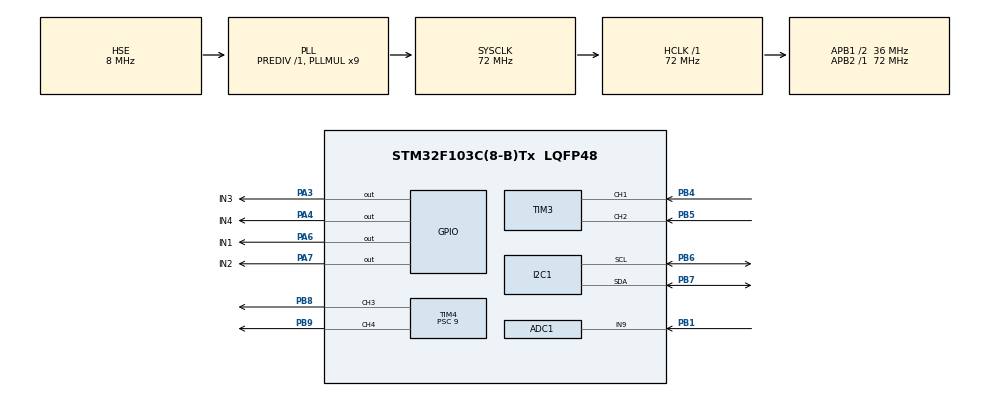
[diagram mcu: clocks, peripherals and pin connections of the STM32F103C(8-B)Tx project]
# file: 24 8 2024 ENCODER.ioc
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ADC1.Channel-0\#ChannelRegularConversion=ADC_CHANNEL_9
ADC1.NbrOfConversionFlag=1
ADC1.Rank-0\#ChannelRegularConversion=1
ADC1.SamplingTime-0\#ChannelRegularConversion=ADC_SAMPLETIME_1CYCLE_5
ADC1.master=1
Dma.ADC1.0.Direction=DMA_PERIPH_TO_MEMORY
Dma.ADC1.0.Instance=DMA1_Channel1
Dma.ADC1.0.MemDataAlignment=DMA_MDATAALIGN_HALFWORD
Dma.ADC1.0.MemInc=DMA_MINC_ENABLE
Dma.ADC1.0.Mode=DMA_CIRCULAR
Dma.ADC1.0.PeriphDataAlignment=DMA_PDATAALIGN_HALFWORD
Dma.ADC1.0.PeriphInc=DMA_PINC_DISABLE
Dma.ADC1.0.Priority=DMA_PRIORITY_LOW
Dma.Request0=ADC1
Mcu.Family=STM32F1
Mcu.Name=STM32F103C(8-B)Tx
Mcu.Package=LQFP48
NVIC.DMA1_Channel1_IRQn=true\:0\:0\:false\:false\:true\:false\:true\:true
NVIC.PriorityGroup=NVIC_PRIORITYGROUP_4
NVIC.TIM2_IRQn=true\:0\:0\:false\:false\:true\:true\:true\:true
NVIC.TIM3_IRQn=true\:0\:0\:false\:false\:true\:true\:true\:true
PA13.Mode=Serial_Wire
PA13.Signal=SYS_JTMS-SWDIO
PA14.Mode=Serial_Wire
PA14.Signal=SYS_JTCK-SWCLK
PA3.GPIO_Label=IN3
PA3.Signal=GPIO_Output
PA4.GPIO_Label=IN4
PA4.Signal=GPIO_Output
PA6.GPIO_Label=IN1
PA6.Signal=GPIO_Output
PA7.GPIO_Label=IN2
PA7.Signal=GPIO_Output
PB1.Signal=ADCx_IN9
PB4.GPIO_PuPd=GPIO_PULLUP
PB4.Signal=S_TIM3_CH1
PB5.GPIO_PuPd=GPIO_PULLUP
PB5.Signal=S_TIM3_CH2
PB6.Mode=I2C
PB6.Signal=I2C1_SCL
PB7.Mode=I2C
PB7.Signal=I2C1_SDA
PB8.Signal=S_TIM4_CH3
PB9.Signal=S_TIM4_CH4
PD0-OSC_IN.Mode=HSE-External-Oscillator
PD0-OSC_IN.Signal=RCC_OSC_IN
PD1-OSC_OUT.Mode=HSE-External-Oscillator
PD1-OSC_OUT.Signal=RCC_OSC_OUT
ProjectManager.HeapSize=0x200
ProjectManager.StackSize=0x400
ProjectManager.TargetToolchain=MDK-ARM V5
RCC.ADCPresc=RCC_ADCPCLK2_DIV6
RCC.AHBFreq_Value=72000000
RCC.APB1CLKDivider=RCC_HCLK_DIV2
RCC.APB1Freq_Value=36000000
RCC.APB1TimFreq_Value=72000000
RCC.APB2Freq_Value=72000000
RCC.APB2TimFreq_Value=72000000
RCC.HCLKFreq_Value=72000000
RCC.PLLMUL=RCC_PLL_MUL9
RCC.PLLSourceVirtual=RCC_PLLSOURCE_HSE
RCC.SYSCLKFreq_VALUE=72000000
RCC.SYSCLKSource=RCC_SYSCLKSOURCE_PLLCLK
RCC.USBFreq_Value=72000000
SH.ADCx_IN9.0=ADC1_IN9,IN9
SH.S_TIM3_CH1.0=TIM3_CH1,Encoder_Interface
SH.S_TIM3_CH2.0=TIM3_CH2,Encoder_Interface
SH.S_TIM4_CH3.0=TIM4_CH3,PWM Generation3 CH3
SH.S_TIM4_CH4.0=TIM4_CH4,PWM Generation4 CH4
TIM2.Period=3999
TIM2.Prescaler=179
TIM3.EncoderMode=TIM_ENCODERMODE_TI12
TIM4.Channel-PWM\ Generation3\ CH3=TIM_CHANNEL_3
TIM4.Channel-PWM\ Generation4\ CH4=TIM_CHANNEL_4
TIM4.Period=1799
TIM4.Prescaler=9
VP_TIM2_VS_ClockSourceINT.Mode=Internal
board=custom

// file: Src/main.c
/* USER CODE BEGIN Header */
/**
  ******************************************************************************
  * @file           : main.c
  * @brief          : Main program body
  ******************************************************************************
  * @attention
  *
  * Copyright (c) 2024 STMicroelectronics.
  * All rights reserved.
  *
  * This software is licensed under terms that can be found in the LICENSE file
  * in the root directory of this software component.
  * If no LICENSE file comes with this software, it is provided AS-IS.
  *
  ******************************************************************************
  */
/* USER CODE END Header */
#include "main.h"

/* USER CODE BEGIN Includes */
#include "stdio.h"
#include "string.h"
#include "i2c-lcd.h"

/* USER CODE END Includes */

ADC_HandleTypeDef hadc1;
DMA_HandleTypeDef hdma_adc1;

I2C_HandleTypeDef hi2c1;

TIM_HandleTypeDef htim2;
TIM_HandleTypeDef htim3;
TIM_HandleTypeDef htim4;

void SystemClock_Config(void);
static void MX_GPIO_Init(void);
static void MX_DMA_Init(void);
static void MX_ADC1_Init(void);
static void MX_TIM2_Init(void);
static void MX_TIM4_Init(void);
static void MX_I2C1_Init(void);
static void MX_TIM3_Init(void);

/* USER CODE BEGIN 0 */
uint16_t	readPOT[1];
int processPOT;
int valuePOT;
int valuePWM;
int valuePWMnew;
int DIR=1;

void Forward(){
		HAL_GPIO_WritePin(IN1_GPIO_Port, IN1_Pin, 0);
		HAL_GPIO_WritePin(IN2_GPIO_Port, IN2_Pin, 1);
		HAL_GPIO_WritePin(IN3_GPIO_Port, IN3_Pin, 0);
		HAL_GPIO_WritePin(IN4_GPIO_Port, IN4_Pin, 1);
}
void Back(){
		HAL_GPIO_WritePin(IN1_GPIO_Port, IN1_Pin, 1);
		HAL_GPIO_WritePin(IN2_GPIO_Port, IN2_Pin, 0);
		HAL_GPIO_WritePin(IN3_GPIO_Port, IN3_Pin, 1);
		HAL_GPIO_WritePin(IN4_GPIO_Port, IN4_Pin, 0);
}
void Stop(){
		HAL_GPIO_WritePin(IN1_GPIO_Port, IN1_Pin, 0);
		HAL_GPIO_WritePin(IN2_GPIO_Port, IN2_Pin, 0);
		HAL_GPIO_WritePin(IN3_GPIO_Port, IN3_Pin, 0);
		HAL_GPIO_WritePin(IN4_GPIO_Port, IN4_Pin, 0);
}

void PWMMOTOR(){
	if(DIR > 0){
		__HAL_TIM_SetCompare(&htim4,TIM_CHANNEL_3, valuePWM);
		__HAL_TIM_SetCompare(&htim4,TIM_CHANNEL_4, valuePWM);
		Back();
	}
	if(DIR < 0){
		__HAL_TIM_SetCompare(&htim4,TIM_CHANNEL_3, valuePWM);
		__HAL_TIM_SetCompare(&htim4,TIM_CHANNEL_4, valuePWM);
		Forward();

	}
	if(valuePWM == 0){
		__HAL_TIM_SetCompare(&htim4,TIM_CHANNEL_3, 0);
		__HAL_TIM_SetCompare(&htim4,TIM_CHANNEL_4, 0);
		Stop();
	}
}

//volatile short eL;
//volatile short eR;
//void HAL_GPIO_EXTI_Callback(uint16_t GPIO_Pin) {
//	 if (GPIO_Pin == GPIO_PIN_4) {
//			if (HAL_GPIO_ReadPin(GPIOB, GPIO_PIN_5) == 0) {
//					eL++;
//			} else {
//					eL--;
//			}
//    }
//
//	 if (GPIO_Pin == GPIO_PIN_8) {
//			if (HAL_GPIO_ReadPin(GPIOA, GPIO_PIN_9) == 0) {
//					eR--;
//			} else {
//					eR++;
//			}
//    }
//}

volatile short encoder;

int taget=0;
int err=0;
int valueL=0;
int cnt=0;
int valueE=0;
int valueEXP=0;
float k=1; //2.25
int output=0;
int theta0=0;
int theta1=0;
int W=0;
int POT=0;

void HAL_TIM_PeriodElapsedCallback(TIM_HandleTypeDef *htim){
	HAL_ADC_Start(&hadc1);
	POT = HAL_ADC_GetValue(&hadc1);

	encoder=__HAL_TIM_GetCounter(&htim3);
	theta1 = encoder;
	W = (theta1-theta0)*100;
	err = POT - W;
	output = k*err;

	valuePWM = output*1799/936;
	theta0=theta1;
	if(valuePWM >= 1799){
		valuePWM = 1799;
	}
	if(valuePWM <= -1799){
		valuePWM= -1799;
	}

	if(valuePWM <0){
		valuePWM = valuePWM*(-1);
		DIR = -1;
	}
	else if(valuePWM >0){
		valuePWM = valuePWM*1;
		DIR = 1;
	}
	__HAL_TIM_SetCompare(&htim4,TIM_CHANNEL_3, valuePWM);
	PWMMOTOR();

}

/* USER CODE END 0 */

int main(void)

{

  /* MCU Configuration--------------------------------------------------------*/

  /* Reset of all peripherals, Initializes the Flash interface and the Systick. */
  HAL_Init();

  /* Configure the system clock */
  SystemClock_Config();

  /* Initialize all configured peripherals */
  MX_GPIO_Init();
  MX_DMA_Init();
  MX_ADC1_Init();
  MX_TIM2_Init();
  MX_TIM4_Init();
  MX_I2C1_Init();
  MX_TIM3_Init();
  /* USER CODE BEGIN 2 */
	HAL_TIM_PWM_Start(&htim4,TIM_CHANNEL_3);
	HAL_TIM_PWM_Start(&htim4,TIM_CHANNEL_4);
	HAL_TIM_Encoder_Start(&htim3,TIM_CHANNEL_1);
	HAL_TIM_Encoder_Start(&htim3,TIM_CHANNEL_2);
//	HAL_TIM_Encoder_Start(&htim1,TIM_CHANNEL_1);
//	HAL_TIM_Encoder_Start(&htim1,TIM_CHANNEL_2);
	HAL_TIM_Base_Start_IT(&htim2);
	lcd_init();
	lcd_put_cur(0,3);
	lcd_send_string("DA2 - N2A");
	lcd_put_cur(1,3);
	lcd_send_string("DH CDT17A");
	HAL_Delay(1000);

  /* USER CODE END 2 */

  /* Infinite loop */
  while (1)
  {

  }
}

void SystemClock_Config(void)
{
  RCC_OscInitTypeDef RCC_OscInitStruct = {0};
  RCC_ClkInitTypeDef RCC_ClkInitStruct = {0};
  RCC_PeriphCLKInitTypeDef PeriphClkInit = {0};

  /** Initializes the RCC Oscillators according to the specified parameters
  * in the RCC_OscInitTypeDef structure.
  */
  RCC_OscInitStruct.OscillatorType = RCC_OSCILLATORTYPE_HSE;
  RCC_OscInitStruct.HSEState = RCC_HSE_ON;
  RCC_OscInitStruct.HSEPredivValue = RCC_HSE_PREDIV_DIV1;
  RCC_OscInitStruct.HSIState = RCC_HSI_ON;
  RCC_OscInitStruct.PLL.PLLState = RCC_PLL_ON;
  RCC_OscInitStruct.PLL.PLLSource = RCC_PLLSOURCE_HSE;
  RCC_OscInitStruct.PLL.PLLMUL = RCC_PLL_MUL9;
  if (HAL_RCC_OscConfig(&RCC_OscInitStruct) != HAL_OK)
  {
    Error_Handler();
  }

  /** Initializes the CPU, AHB and APB buses clocks
  */
  RCC_ClkInitStruct.ClockType = RCC_CLOCKTYPE_HCLK|RCC_CLOCKTYPE_SYSCLK
                              |RCC_CLOCKTYPE_PCLK1|RCC_CLOCKTYPE_PCLK2;
  RCC_ClkInitStruct.SYSCLKSource = RCC_SYSCLKSOURCE_PLLCLK;
  RCC_ClkInitStruct.AHBCLKDivider = RCC_SYSCLK_DIV1;
  RCC_ClkInitStruct.APB1CLKDivider = RCC_HCLK_DIV2;
  RCC_ClkInitStruct.APB2CLKDivider = RCC_HCLK_DIV1;

  if (HAL_RCC_ClockConfig(&RCC_ClkInitStruct, FLASH_LATENCY_2) != HAL_OK)
  {
    Error_Handler();
  }
  PeriphClkInit.PeriphClockSelection = RCC_PERIPHCLK_ADC;
  PeriphClkInit.AdcClockSelection = RCC_ADCPCLK2_DIV6;
  if (HAL_RCCEx_PeriphCLKConfig(&PeriphClkInit) != HAL_OK)
  {
    Error_Handler();
  }
}

static void MX_ADC1_Init(void)
{

  ADC_ChannelConfTypeDef sConfig = {0};

  /** Common config
  */
  hadc1.Instance = ADC1;
  hadc1.Init.ScanConvMode = ADC_SCAN_DISABLE;
  hadc1.Init.ContinuousConvMode = DISABLE;
  hadc1.Init.DiscontinuousConvMode = DISABLE;
  hadc1.Init.ExternalTrigConv = ADC_SOFTWARE_START;
  hadc1.Init.DataAlign = ADC_DATAALIGN_RIGHT;
  hadc1.Init.NbrOfConversion = 1;
  if (HAL_ADC_Init(&hadc1) != HAL_OK)
  {
    Error_Handler();
  }

  /** Configure Regular Channel
  */
  sConfig.Channel = ADC_CHANNEL_9;
  sConfig.Rank = ADC_REGULAR_RANK_1;
  sConfig.SamplingTime = ADC_SAMPLETIME_1CYCLE_5;
  if (HAL_ADC_ConfigChannel(&hadc1, &sConfig) != HAL_OK)
  {
    Error_Handler();
  }

}

static void MX_I2C1_Init(void)
{

  hi2c1.Instance = I2C1;
  hi2c1.Init.ClockSpeed = 100000;
  hi2c1.Init.DutyCycle = I2C_DUTYCYCLE_2;
  hi2c1.Init.OwnAddress1 = 0;
  hi2c1.Init.AddressingMode = I2C_ADDRESSINGMODE_7BIT;
  hi2c1.Init.DualAddressMode = I2C_DUALADDRESS_DISABLE;
  hi2c1.Init.OwnAddress2 = 0;
  hi2c1.Init.GeneralCallMode = I2C_GENERALCALL_DISABLE;
  hi2c1.Init.NoStretchMode = I2C_NOSTRETCH_DISABLE;
  if (HAL_I2C_Init(&hi2c1) != HAL_OK)
  {
    Error_Handler();
  }

}

static void MX_TIM2_Init(void)
{

  TIM_ClockConfigTypeDef sClockSourceConfig = {0};
  TIM_MasterConfigTypeDef sMasterConfig = {0};

  htim2.Instance = TIM2;
  htim2.Init.Prescaler = 179;
  htim2.Init.CounterMode = TIM_COUNTERMODE_UP;
  htim2.Init.Period = 3999;
  htim2.Init.ClockDivision = TIM_CLOCKDIVISION_DIV1;
  htim2.Init.AutoReloadPreload = TIM_AUTORELOAD_PRELOAD_DISABLE;
  if (HAL_TIM_Base_Init(&htim2) != HAL_OK)
  {
    Error_Handler();
  }
  sClockSourceConfig.ClockSource = TIM_CLOCKSOURCE_INTERNAL;
  if (HAL_TIM_ConfigClockSource(&htim2, &sClockSourceConfig) != HAL_OK)
  {
    Error_Handler();
  }
  sMasterConfig.MasterOutputTrigger = TIM_TRGO_RESET;
  sMasterConfig.MasterSlaveMode = TIM_MASTERSLAVEMODE_DISABLE;
  if (HAL_TIMEx_MasterConfigSynchronization(&htim2, &sMasterConfig) != HAL_OK)
  {
    Error_Handler();
  }

}

static void MX_TIM3_Init(void)
{

  TIM_Encoder_InitTypeDef sConfig = {0};
  TIM_MasterConfigTypeDef sMasterConfig = {0};

  htim3.Instance = TIM3;
  htim3.Init.Prescaler = 0;
  htim3.Init.CounterMode = TIM_COUNTERMODE_UP;
  htim3.Init.Period = 65535;
  htim3.Init.ClockDivision = TIM_CLOCKDIVISION_DIV1;
  htim3.Init.AutoReloadPreload = TIM_AUTORELOAD_PRELOAD_DISABLE;
  sConfig.EncoderMode = TIM_ENCODERMODE_TI12;
  sConfig.IC1Polarity = TIM_ICPOLARITY_RISING;
  sConfig.IC1Selection = TIM_ICSELECTION_DIRECTTI;
  sConfig.IC1Prescaler = TIM_ICPSC_DIV1;
  sConfig.IC1Filter = 0;
  sConfig.IC2Polarity = TIM_ICPOLARITY_RISING;
  sConfig.IC2Selection = TIM_ICSELECTION_DIRECTTI;
  sConfig.IC2Prescaler = TIM_ICPSC_DIV1;
  sConfig.IC2Filter = 0;
  if (HAL_TIM_Encoder_Init(&htim3, &sConfig) != HAL_OK)
  {
    Error_Handler();
  }
  sMasterConfig.MasterOutputTrigger = TIM_TRGO_RESET;
  sMasterConfig.MasterSlaveMode = TIM_MASTERSLAVEMODE_DISABLE;
  if (HAL_TIMEx_MasterConfigSynchronization(&htim3, &sMasterConfig) != HAL_OK)
  {
    Error_Handler();
  }

}

static void MX_TIM4_Init(void)
{

  TIM_MasterConfigTypeDef sMasterConfig = {0};
  TIM_OC_InitTypeDef sConfigOC = {0};

  htim4.Instance = TIM4;
  htim4.Init.Prescaler = 9;
  htim4.Init.CounterMode = TIM_COUNTERMODE_UP;
  htim4.Init.Period = 1799;
  htim4.Init.ClockDivision = TIM_CLOCKDIVISION_DIV1;
  htim4.Init.AutoReloadPreload = TIM_AUTORELOAD_PRELOAD_DISABLE;
  if (HAL_TIM_PWM_Init(&htim4) != HAL_OK)
  {
    Error_Handler();
  }
  sMasterConfig.MasterOutputTrigger = TIM_TRGO_RESET;
  sMasterConfig.MasterSlaveMode = TIM_MASTERSLAVEMODE_DISABLE;
  if (HAL_TIMEx_MasterConfigSynchronization(&htim4, &sMasterConfig) != HAL_OK)
  {
    Error_Handler();
  }
  sConfigOC.OCMode = TIM_OCMODE_PWM1;
  sConfigOC.Pulse = 0;
  sConfigOC.OCPolarity = TIM_OCPOLARITY_HIGH;
  sConfigOC.OCFastMode = TIM_OCFAST_DISABLE;
  if (HAL_TIM_PWM_ConfigChannel(&htim4, &sConfigOC, TIM_CHANNEL_3) != HAL_OK)
  {
    Error_Handler();
  }
  if (HAL_TIM_PWM_ConfigChannel(&htim4, &sConfigOC, TIM_CHANNEL_4) != HAL_OK)
  {
    Error_Handler();
  }
  HAL_TIM_MspPostInit(&htim4);

}

static void MX_DMA_Init(void)
{

  /* DMA controller clock enable */
  __HAL_RCC_DMA1_CLK_ENABLE();

  /* DMA interrupt init */
  /* DMA1_Channel1_IRQn interrupt configuration */
  HAL_NVIC_SetPriority(DMA1_Channel1_IRQn, 0, 0);
  HAL_NVIC_EnableIRQ(DMA1_Channel1_IRQn);

}

static void MX_GPIO_Init(void)
{
  GPIO_InitTypeDef GPIO_InitStruct = {0};

  /* GPIO Ports Clock Enable */
  __HAL_RCC_GPIOD_CLK_ENABLE();
  __HAL_RCC_GPIOA_CLK_ENABLE();
  __HAL_RCC_GPIOB_CLK_ENABLE();

  /*Configure GPIO pin Output Level */
  HAL_GPIO_WritePin(GPIOA, IN3_Pin|IN4_Pin|IN1_Pin|IN2_Pin, GPIO_PIN_RESET);

  /*Configure GPIO pins : IN3_Pin IN4_Pin IN1_Pin IN2_Pin */
  GPIO_InitStruct.Pin = IN3_Pin|IN4_Pin|IN1_Pin|IN2_Pin;
  GPIO_InitStruct.Mode = GPIO_MODE_OUTPUT_PP;
  GPIO_InitStruct.Pull = GPIO_NOPULL;
  GPIO_InitStruct.Speed = GPIO_SPEED_FREQ_LOW;
  HAL_GPIO_Init(GPIOA, &GPIO_InitStruct);

}

void Error_Handler(void)
{
  __disable_irq();
  while (1)
  {
  }
}
